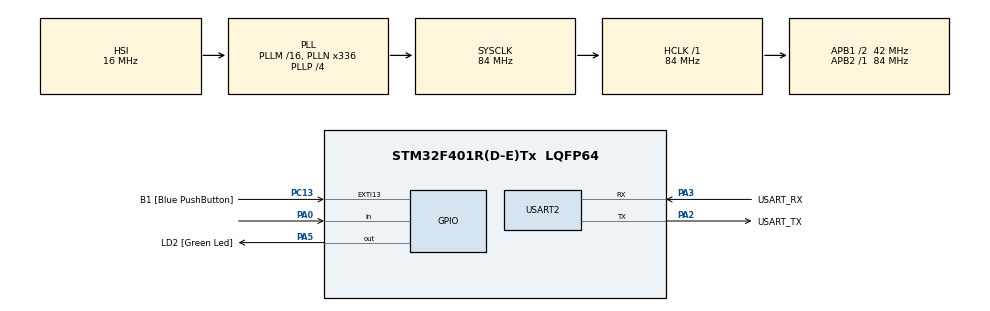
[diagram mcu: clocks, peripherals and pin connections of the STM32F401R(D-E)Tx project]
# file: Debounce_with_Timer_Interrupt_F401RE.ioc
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Mcu.Family=STM32F4
Mcu.Name=STM32F401R(D-E)Tx
Mcu.Package=LQFP64
NVIC.PriorityGroup=NVIC_PRIORITYGROUP_4
NVIC.TIM2_IRQn=true\:0\:0\:false\:false\:true\:true\:true\:true
NVIC.USART2_IRQn=true\:0\:0\:false\:false\:true\:true\:true\:true
PA0-WKUP.GPIO_PuPd=GPIO_PULLUP
PA0-WKUP.Signal=GPIO_Input
PA13.GPIO_Label=TMS
PA13.Mode=Trace_Asynchronous_SW
PA13.Signal=SYS_JTMS-SWDIO
PA14.GPIO_Label=TCK
PA14.Mode=Trace_Asynchronous_SW
PA14.Signal=SYS_JTCK-SWCLK
PA2.GPIO_Label=USART_TX
PA2.GPIO_Mode=GPIO_MODE_AF_PP
PA2.GPIO_PuPd=GPIO_NOPULL
PA2.GPIO_Speed=GPIO_SPEED_FREQ_LOW
PA2.Mode=Asynchronous
PA2.Signal=USART2_TX
PA3.GPIO_Label=USART_RX
PA3.GPIO_Mode=GPIO_MODE_AF_PP
PA3.GPIO_PuPd=GPIO_NOPULL
PA3.GPIO_Speed=GPIO_SPEED_FREQ_LOW
PA3.Mode=Asynchronous
PA3.Signal=USART2_RX
PA5.GPIO_Label=LD2 [Green Led]
PA5.GPIO_Mode=GPIO_MODE_OUTPUT_PP
PA5.GPIO_PuPd=GPIO_NOPULL
PA5.GPIO_Speed=GPIO_SPEED_FREQ_LOW
PA5.Signal=GPIO_Output
PB3.GPIO_Label=SWO
PB3.Mode=Trace_Asynchronous_SW
PB3.Signal=SYS_JTDO-SWO
PC13-ANTI_TAMP.GPIO_Label=B1 [Blue PushButton]
PC13-ANTI_TAMP.GPIO_ModeDefaultEXTI=GPIO_MODE_IT_FALLING
PC13-ANTI_TAMP.GPIO_PuPd=GPIO_NOPULL
PC13-ANTI_TAMP.Signal=GPXTI13
PC14-OSC32_IN.Mode=LSE-External-Oscillator
PC14-OSC32_IN.Signal=RCC_OSC32_IN
PC15-OSC32_OUT.Mode=LSE-External-Oscillator
PC15-OSC32_OUT.Signal=RCC_OSC32_OUT
PH0\ -\ OSC_IN.Mode=HSE-External-Clock-Source
PH0\ -\ OSC_IN.Signal=RCC_OSC_IN
PH1\ -\ OSC_OUT.Mode=HSE-External-Clock-Source
PH1\ -\ OSC_OUT.Signal=RCC_OSC_OUT
ProjectManager.HeapSize=0x200
ProjectManager.StackSize=0x400
ProjectManager.TargetToolchain=STM32CubeIDE
RCC.48MHZClocksFreq_Value=48000000
RCC.AHBFreq_Value=84000000
RCC.APB1CLKDivider=RCC_HCLK_DIV2
RCC.APB1Freq_Value=42000000
RCC.APB1TimFreq_Value=84000000
RCC.APB2Freq_Value=84000000
RCC.APB2TimFreq_Value=84000000
RCC.CortexFreq_Value=84000000
RCC.HCLKFreq_Value=84000000
RCC.HSE_VALUE=8000000
RCC.HSI_VALUE=16000000
RCC.PLLN=336
RCC.PLLP=RCC_PLLP_DIV4
RCC.PLLQ=7
RCC.SYSCLKFreq_VALUE=84000000
RCC.SYSCLKSource=RCC_SYSCLKSOURCE_PLLCLK
RCC.VCOOutputFreq_Value=336000000
TIM2.Period=4999
TIM2.Prescaler=83
USART2.VirtualMode=VM_ASYNC
VP_TIM2_VS_ClockSourceINT.Mode=Internal
board=NUCLEO-F401RE

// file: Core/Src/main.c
/* USER CODE BEGIN Header */
/**
  ******************************************************************************
  * @file           : main.c
  * @brief          : Main program body
  ******************************************************************************
  * @attention
  *
  * Copyright (c) 2026 STMicroelectronics.
  * All rights reserved.
  *
  * This software is licensed under terms that can be found in the LICENSE file
  * in the root directory of this software component.
  * If no LICENSE file comes with this software, it is provided AS-IS.
  *
  ******************************************************************************
  */
/* USER CODE END Header */
#include "main.h"

/* USER CODE BEGIN Includes */
#include <stdio.h>
#include <string.h>
/* USER CODE END Includes */

TIM_HandleTypeDef htim2;

UART_HandleTypeDef huart2;

/* USER CODE BEGIN PV */
volatile uint8_t pressFlag = 0;
volatile uint32_t pa0Count = 0;
uint8_t stableState = 1;
uint8_t lastReading = 1;
uint8_t stableCount = 0;
char buffer [50];

/* USER CODE END PV */

void SystemClock_Config(void);
static void MX_GPIO_Init(void);
static void MX_TIM2_Init(void);
static void MX_USART2_UART_Init(void);

int main(void)
{

  /* MCU Configuration--------------------------------------------------------*/

  /* Reset of all peripherals, Initializes the Flash interface and the Systick. */
  HAL_Init();

  /* Configure the system clock */
  SystemClock_Config();

  /* Initialize all configured peripherals */
  MX_GPIO_Init();
  MX_TIM2_Init();
  MX_USART2_UART_Init();
  /* USER CODE BEGIN 2 */
HAL_TIM_Base_Start_IT(&htim2);
  /* USER CODE END 2 */

  /* Infinite loop */
  while (1)
  {

    /* USER CODE BEGIN 3 */
	  if(pressFlag == 1)
	  {
		  pressFlag = 0;
		  sprintf(buffer, "PA0 pressed! Count: %lu\r\n", pa0Count);
		  HAL_UART_Transmit(&huart2, (uint8_t*)buffer, strlen(buffer), 100);
	  }
  }
  /* USER CODE END 3 */
}

void SystemClock_Config(void)
{
  RCC_OscInitTypeDef RCC_OscInitStruct = {0};
  RCC_ClkInitTypeDef RCC_ClkInitStruct = {0};

  /** Configure the main internal regulator output voltage
  */
  __HAL_RCC_PWR_CLK_ENABLE();
  __HAL_PWR_VOLTAGESCALING_CONFIG(PWR_REGULATOR_VOLTAGE_SCALE2);

  /** Initializes the RCC Oscillators according to the specified parameters
  * in the RCC_OscInitTypeDef structure.
  */
  RCC_OscInitStruct.OscillatorType = RCC_OSCILLATORTYPE_HSI;
  RCC_OscInitStruct.HSIState = RCC_HSI_ON;
  RCC_OscInitStruct.HSICalibrationValue = RCC_HSICALIBRATION_DEFAULT;
  RCC_OscInitStruct.PLL.PLLState = RCC_PLL_ON;
  RCC_OscInitStruct.PLL.PLLSource = RCC_PLLSOURCE_HSI;
  RCC_OscInitStruct.PLL.PLLM = 16;
  RCC_OscInitStruct.PLL.PLLN = 336;
  RCC_OscInitStruct.PLL.PLLP = RCC_PLLP_DIV4;
  RCC_OscInitStruct.PLL.PLLQ = 7;
  if (HAL_RCC_OscConfig(&RCC_OscInitStruct) != HAL_OK)
  {
    Error_Handler();
  }

  /** Initializes the CPU, AHB and APB buses clocks
  */
  RCC_ClkInitStruct.ClockType = RCC_CLOCKTYPE_HCLK|RCC_CLOCKTYPE_SYSCLK
                              |RCC_CLOCKTYPE_PCLK1|RCC_CLOCKTYPE_PCLK2;
  RCC_ClkInitStruct.SYSCLKSource = RCC_SYSCLKSOURCE_PLLCLK;
  RCC_ClkInitStruct.AHBCLKDivider = RCC_SYSCLK_DIV1;
  RCC_ClkInitStruct.APB1CLKDivider = RCC_HCLK_DIV2;
  RCC_ClkInitStruct.APB2CLKDivider = RCC_HCLK_DIV1;

  if (HAL_RCC_ClockConfig(&RCC_ClkInitStruct, FLASH_LATENCY_2) != HAL_OK)
  {
    Error_Handler();
  }
}

static void MX_TIM2_Init(void)
{

  TIM_ClockConfigTypeDef sClockSourceConfig = {0};
  TIM_MasterConfigTypeDef sMasterConfig = {0};

  htim2.Instance = TIM2;
  htim2.Init.Prescaler = 83;
  htim2.Init.CounterMode = TIM_COUNTERMODE_UP;
  htim2.Init.Period = 4999;
  htim2.Init.ClockDivision = TIM_CLOCKDIVISION_DIV1;
  htim2.Init.AutoReloadPreload = TIM_AUTORELOAD_PRELOAD_DISABLE;
  if (HAL_TIM_Base_Init(&htim2) != HAL_OK)
  {
    Error_Handler();
  }
  sClockSourceConfig.ClockSource = TIM_CLOCKSOURCE_INTERNAL;
  if (HAL_TIM_ConfigClockSource(&htim2, &sClockSourceConfig) != HAL_OK)
  {
    Error_Handler();
  }
  sMasterConfig.MasterOutputTrigger = TIM_TRGO_RESET;
  sMasterConfig.MasterSlaveMode = TIM_MASTERSLAVEMODE_DISABLE;
  if (HAL_TIMEx_MasterConfigSynchronization(&htim2, &sMasterConfig) != HAL_OK)
  {
    Error_Handler();
  }

}

static void MX_USART2_UART_Init(void)
{

  huart2.Instance = USART2;
  huart2.Init.BaudRate = 115200;
  huart2.Init.WordLength = UART_WORDLENGTH_8B;
  huart2.Init.StopBits = UART_STOPBITS_1;
  huart2.Init.Parity = UART_PARITY_NONE;
  huart2.Init.Mode = UART_MODE_TX_RX;
  huart2.Init.HwFlowCtl = UART_HWCONTROL_NONE;
  huart2.Init.OverSampling = UART_OVERSAMPLING_16;
  if (HAL_UART_Init(&huart2) != HAL_OK)
  {
    Error_Handler();
  }

}

static void MX_GPIO_Init(void)
{
  GPIO_InitTypeDef GPIO_InitStruct = {0};

  /* GPIO Ports Clock Enable */
  __HAL_RCC_GPIOC_CLK_ENABLE();
  __HAL_RCC_GPIOH_CLK_ENABLE();
  __HAL_RCC_GPIOA_CLK_ENABLE();
  __HAL_RCC_GPIOB_CLK_ENABLE();

  /*Configure GPIO pin Output Level */
  HAL_GPIO_WritePin(LD2_GPIO_Port, LD2_Pin, GPIO_PIN_RESET);

  /*Configure GPIO pin : B1_Pin */
  GPIO_InitStruct.Pin = B1_Pin;
  GPIO_InitStruct.Mode = GPIO_MODE_IT_FALLING;
  GPIO_InitStruct.Pull = GPIO_NOPULL;
  HAL_GPIO_Init(B1_GPIO_Port, &GPIO_InitStruct);

  /*Configure GPIO pin : PA0 */
  GPIO_InitStruct.Pin = GPIO_PIN_0;
  GPIO_InitStruct.Mode = GPIO_MODE_INPUT;
  GPIO_InitStruct.Pull = GPIO_PULLUP;
  HAL_GPIO_Init(GPIOA, &GPIO_InitStruct);

  /*Configure GPIO pin : LD2_Pin */
  GPIO_InitStruct.Pin = LD2_Pin;
  GPIO_InitStruct.Mode = GPIO_MODE_OUTPUT_PP;
  GPIO_InitStruct.Pull = GPIO_NOPULL;
  GPIO_InitStruct.Speed = GPIO_SPEED_FREQ_LOW;
  HAL_GPIO_Init(LD2_GPIO_Port, &GPIO_InitStruct);

}

/* USER CODE BEGIN 4 */
void HAL_TIM_PeriodElapsedCallback(TIM_HandleTypeDef *htim)
{
	if(htim->Instance == TIM2)
	{
		uint8_t reading = HAL_GPIO_ReadPin(GPIOA, GPIO_PIN_0);

		if(reading == lastReading)
		{
			if(stableCount < 255)
				stableCount++;
		}
		else
		{
			stableCount = 0;
			lastReading = reading;
		}
		if(stableCount>=6 && reading != stableState)
		{
			stableState = reading;
			if(stableState == GPIO_PIN_RESET)
			{
				pa0Count++;
				pressFlag = 1;
			}
		}
	}
}
/* USER CODE END 4 */

void Error_Handler(void)
{
  __disable_irq();
  while (1)
  {
  }
}
